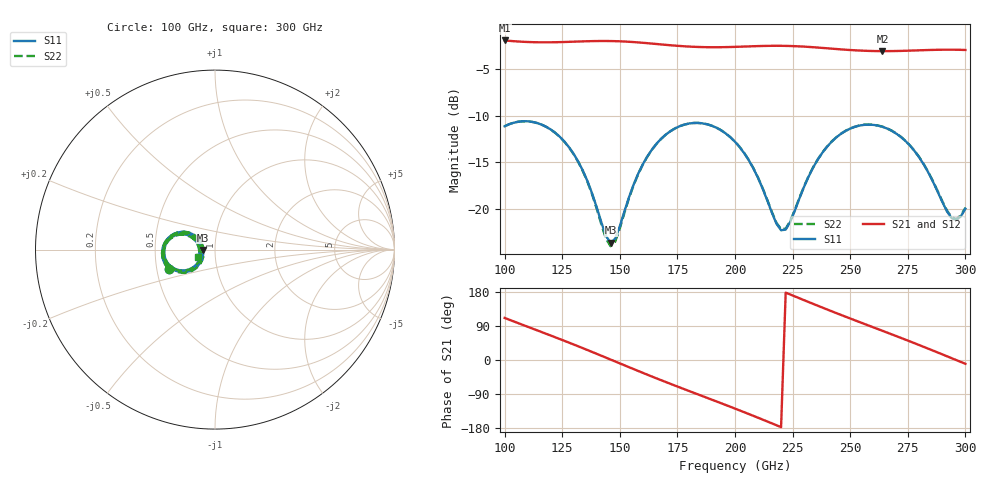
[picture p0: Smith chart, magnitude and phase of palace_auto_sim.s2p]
#  GHZ S DB R 50
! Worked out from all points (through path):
!   101 points, 100 GHz to 300 GHz, reference 50 ohm
!   highest |S21| = -1.89 dB at 100 GHz (marker M1); lowest = -3.0 dB at 264 GHz (marker M2)
!   group delay of S21, straight-line fit = 6.69 ps
!   lowest |S11| = -23.6 dB at 146 GHz (marker M3), VSWR 1.14, Z = 43.8 - j0.209 ohm
!   |S11| at or under -10 dB: start of sweep to end of sweep
!   |S22| runs from -24.0 to -10.6 dB; largest |S21 - S12| = 1.4e-13
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100  -11.11 -156.8  -1.89 111.1  -1.89 111.1  -11.12 -156.8
108  -10.57 -172.2  -2.03 92.4  -2.03 92.4  -10.58 -172.2
116  -10.93 172.8  -2.09 73.9  -2.09 73.9  -10.94 172.8
126  -12.77 155.6  -2.05 50.4  -2.05 50.4  -12.79 155.4
134  -15.91 146.0  -1.98 31.1  -1.98 31.1  -15.96 145.5
146  -23.65 -177.9  -1.95 1.2  -1.95 1.2  -24.01 -177.6
148  -23.20 -161.1  -1.96 -3.9  -1.96 -3.9  -23.53 -159.9
156  -17.38 -136.5  -2.06 -24.0  -2.06 -24.0  -17.45 -135.0
168  -12.44 -149.0  -2.31 -53.4  -2.31 -53.4  -12.46 -148.0
184  -10.76 -176.7  -2.58 -90.9  -2.58 -90.9  -10.75 -175.8
200  -12.78 157.0  -2.57 -128.2  -2.57 -128.2  -12.77 157.9
210  -16.67 148.2  -2.49 -152.3  -2.49 -152.3  -16.64 149.2
220  -22.30 178.1  -2.46 -177.2  -2.46 -177.2  -22.19 178.9
224  -21.39 -156.5  -2.48 172.8  -2.48 172.8  -21.30 -156.1
234  -15.52 -141.6  -2.61 147.9  -2.61 147.9  -15.49 -141.1
248  -11.61 -159.3  -2.88 114.2  -2.88 114.2  -11.60 -158.6
264  -11.17 174.5  -3.03 77.1  -3.03 77.1  -11.16 175.3
268  -11.60 168.3  -3.03 67.8  -3.03 67.8  -11.58 169.1
278  -13.80 155.0  -2.96 44.1  -2.96 44.1  -13.77 155.9
286  -17.11 152.2  -2.90 24.7  -2.90 24.7  -17.06 153.2
294  -20.99 174.2  -2.88 4.9  -2.88 4.9  -20.88 175.1
300  -19.98 -156.0  -2.91 -10.1  -2.91 -10.1  -19.89 -155.4
